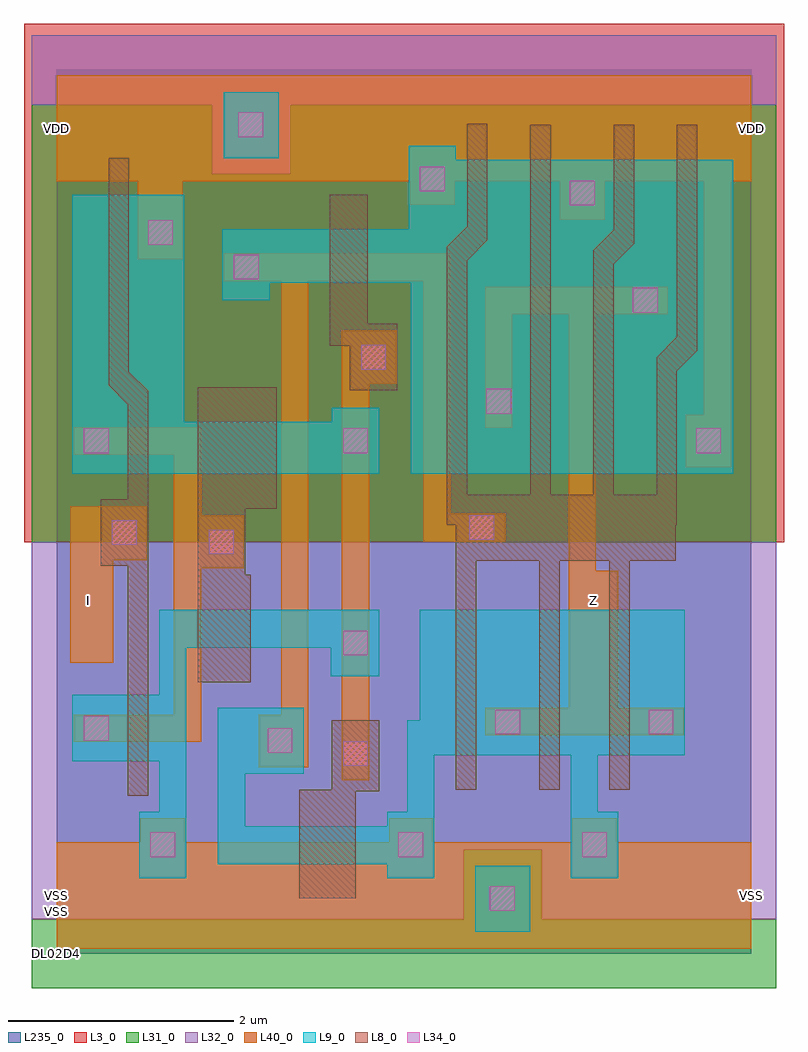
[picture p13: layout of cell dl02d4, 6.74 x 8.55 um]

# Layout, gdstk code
import gdstk
lib = gdstk.Library(unit=1e-6, precision=1e-09)
def R(c, l, rs):  # rectangles x0, y0, x1, y1
    for r in rs: c.add(gdstk.rectangle(r[:2], r[2:], *l))
def P(c, l, *ps):  # polygons
    for p in ps: c.add(gdstk.Polygon(p, *l))
L3_0 = (3, 0)
L8_0 = (8, 0)
L9_0 = (9, 0)
L31_0 = (31, 0)
L32_0 = (32, 0)
L34_0 = (34, 0)
L40_0 = (40, 0)
L235_0 = (235, 0)

dl02d4 = lib.new_cell('dl02d4')
R(dl02d4, L3_0, [(-0.29,3.65,6.45,8.245)])
P(dl02d4, L8_0, [(3.72,3.485),(4.28,3.485),(4.28,1.455),(4.46,1.455),(4.46,3.485),(4.9,3.485),(4.9,1.455),(5.08,1.455),(5.08,3.485),(5.49,3.485),(5.49,3.805),(5.5,3.805),(5.5,5.165),(5.68,5.345),(5.68,7.35),(5.5,7.35),(5.5,5.47),(5.32,5.29),(5.32,4.07),(4.94,4.07),(4.94,6.115),(5.12,6.295),(5.12,7.35),(4.94,7.35),(4.94,6.42),(4.76,6.24),(4.76,4.07),(4.38,4.07),(4.38,7.35),(4.2,7.35),(4.2,4.07),(3.64,4.07),(3.64,6.145),(3.82,6.325),(3.82,7.36),(3.64,7.36),(3.64,6.45),(3.46,6.27),(3.46,3.805),(3.54,3.805),(3.54,1.455),(3.72,1.455)],
  [(0.81,4.99),(0.64,5.16),(0.64,7.055),(0.46,7.055),(0.46,5.04),(0.63,4.87),(0.63,4.03),(0.39,4.03),(0.39,3.44),(0.63,3.44),(0.63,1.4),(0.81,1.4)],
  [(3.02,5.585),(2.76,5.585),(2.76,6.73),(2.42,6.73),(2.42,5.39),(2.6,5.39),(2.6,4.995),(3.02,4.995)],
  [(1.72,3.36),(1.67,3.36),(1.67,3.945),(1.95,3.945),(1.95,5.025),(1.25,5.025),(1.25,2.405),(1.72,2.405)],
  [(2.65,1.44),(2.86,1.44),(2.86,2.07),(2.44,2.07),(2.44,1.455),(2.15,1.455),(2.15,0.49),(2.65,0.49)])
R(dl02d4, L9_0, [(3.71,0.195,4.2,0.78), (1.48,7.055,1.97,7.64)])
P(dl02d4, L9_0, [(5.57,3.05),(5.57,1.76),(4.8,1.76),(4.8,1.26),(4.98,1.26),(4.98,0.67),(4.56,0.67),(4.56,1.76),(3.35,1.76),(3.35,0.67),(2.93,0.67),(2.93,0.795),(1.43,0.795),(1.43,2.18),(2.19,2.18),(2.19,1.595),(1.67,1.595),(1.67,1.13),(2.93,1.13),(2.93,1.26),(3.11,1.26),(3.11,2.07),(3.22,2.07),(3.22,3.05)],
  [(2.86,3.05),(2.86,2.46),(2.43,2.46),(2.43,2.715),(1.15,2.715),(1.15,0.67),(0.73,0.67),(0.73,1.26),(0.91,1.26),(0.91,1.705),(0.14,1.705),(0.14,2.295),(0.91,2.295),(0.91,3.05)],
  [(1.13,6.73),(1.13,4.715),(2.44,4.715),(2.44,4.84),(2.86,4.84),(2.86,4.255),(0.14,4.255),(0.14,6.73)],
  [(3.54,7.165),(3.54,7.04),(6,7.04),(6,4.255),(3.14,4.255),(3.14,5.95),(1.89,5.95),(1.89,5.795),(1.47,5.795),(1.47,6.425),(3.12,6.425),(3.12,7.165)])
P(dl02d4, L31_0, [(4.3,0.92),(4.3,0.305),(6.38,0.305),(6.38,-0.305),(-0.22,-0.305),(-0.22,0.305),(3.61,0.305),(3.61,0.92)],
  [(6.38,7.53),(6.38,3.65),(-0.22,3.65),(-0.22,7.53),(1.38,7.53),(1.38,6.915),(2.07,6.915),(2.07,7.53)])
P(dl02d4, L32_0, [(6.38,3.65),(6.38,0.305),(4.3,0.305),(4.3,0.92),(3.61,0.92),(3.61,0.305),(-0.22,0.305),(-0.22,3.65)],
  [(6.38,8.145),(6.38,7.53),(2.07,7.53),(2.07,6.915),(1.38,6.915),(1.38,7.53),(-0.22,7.53),(-0.22,8.145)])
R(dl02d4, L34_0, [(3.84,0.38,4.06,0.6), (0.83,0.855,1.05,1.075), (3.03,0.855,3.25,1.075), (4.66,0.855,4.88,1.075), (2.54,1.665,2.76,1.885), (1.87,1.78,2.09,2), (0.24,1.89,0.46,2.11), (3.89,1.945,4.11,2.165), (5.25,1.945,5.47,2.165), (2.54,2.645,2.76,2.865), (1.35,3.54,1.57,3.76), (0.49,3.625,0.71,3.845), (3.66,3.67,3.88,3.89), (0.24,4.44,0.46,4.66), (2.54,4.44,2.76,4.66), (5.67,4.44,5.89,4.66), (3.81,4.79,4.03,5.01), (2.7,5.18,2.92,5.4), (5.11,5.685,5.33,5.905), (1.57,5.98,1.79,6.2), (0.81,6.285,1.03,6.505), (4.55,6.635,4.77,6.855), (3.22,6.76,3.44,6.98), (1.61,7.24,1.83,7.46)])
P(dl02d4, L40_0, [(0,6.85),(0.72,6.85),(0.72,6.16),(1.12,6.16),(1.12,6.85),(3.13,6.85),(3.13,6.64),(3.53,6.64),(3.53,6.85),(4.46,6.85),(4.46,6.51),(4.86,6.51),(4.86,6.85),(5.74,6.85),(5.74,4.78),(5.58,4.78),(5.58,4.315),(5.98,4.315),(5.98,6.85),(6.16,6.85),(6.16,7.79),(0,7.79)],
  [(2.53,1.54),(2.77,1.54),(2.77,5.055),(3.01,5.055),(3.01,5.525),(2.53,5.525)],
  [(0.12,2.58),(0.5,2.58),(0.5,3.49),(0.8,3.49),(0.8,3.97),(0.12,3.97)],
  [(1.48,6.21),(1.48,5.965),(1.99,5.965),(1.99,2.12),(1.79,2.12),(1.79,1.655),(2.23,1.655),(2.23,5.965),(3.25,5.965),(3.25,3.655),(3.98,3.655),(3.98,3.9),(3.49,3.9),(3.49,6.21)],
  [(0.15,4.67),(0.15,4.425),(1.04,4.425),(1.04,2.12),(0.15,2.12),(0.15,1.88),(1.28,1.88),(1.28,3.42),(1.66,3.42),(1.66,3.885),(1.28,3.885),(1.28,4.67)],
  [(4.98,3.395),(4.78,3.395),(4.78,5.67),(5.42,5.67),(5.42,5.915),(3.8,5.915),(3.8,4.665),(4.04,4.665),(4.04,5.67),(4.54,5.67),(4.54,2.18),(3.8,2.18),(3.8,1.935),(5.56,1.935),(5.56,2.18),(4.98,2.18)],
  [(4.57,1.2),(4.57,0.99),(3.34,0.99),(3.34,1.2),(2.95,1.2),(2.95,0.99),(1.14,0.99),(1.14,1.2),(0.74,1.2),(0.74,0.99),(0,0.99),(0,0.045),(6.16,0.045),(6.16,0.99),(4.97,0.99),(4.97,1.2)])
R(dl02d4, L235_0, [(0,0,6.16,7.84)])
dl02d4.add(gdstk.Label('VSS', (0,0.37), layer=40, texttype=7))
dl02d4.add(gdstk.Label('VSS', (0,0.37), layer=40, texttype=7))
dl02d4.add(gdstk.Label('VSS', (0,0.37), layer=40, texttype=7))
dl02d4.add(gdstk.Label('VSS', (0,0.37), layer=40, texttype=7))
dl02d4.add(gdstk.Label('VSS', (0,0.37), layer=40, texttype=7))
dl02d4.add(gdstk.Label('Copyright (c) 2003, 2004 Synopsys, Inc.', (0,-2.24), layer=96, texttype=0))
dl02d4.add(gdstk.Label('DT. 13-Aug-2002 12:46:16', (0,-1.68), layer=96, texttype=0))
dl02d4.add(gdstk.Label('Rev. 2', (0,-1.12), layer=96, texttype=0))
dl02d4.add(gdstk.Label('NON INVERTING DELAY BUFFER WITH 2X DELAY, 4X DRIVE', (0,-0.56), layer=96, texttype=0))
dl02d4.add(gdstk.Label('DL02D4', (0,0), layer=96, texttype=0))
dl02d4.add(gdstk.Label('I', (0.28,3.135), layer=40, texttype=7))
dl02d4.add(gdstk.Label('Z', (4.76,3.135), layer=40, texttype=7))
dl02d4.add(gdstk.Label('VSS', (6.16,0.515), layer=40, texttype=7))
dl02d4.add(gdstk.Label('VDD', (6.16,7.32), layer=40, texttype=7))
dl02d4.add(gdstk.Label('VDD', (0,7.32), layer=40, texttype=7))
dl02d4.add(gdstk.Label('VSS', (0,0.515), layer=40, texttype=7))

lib.write_gds('dl02d4.gds')
